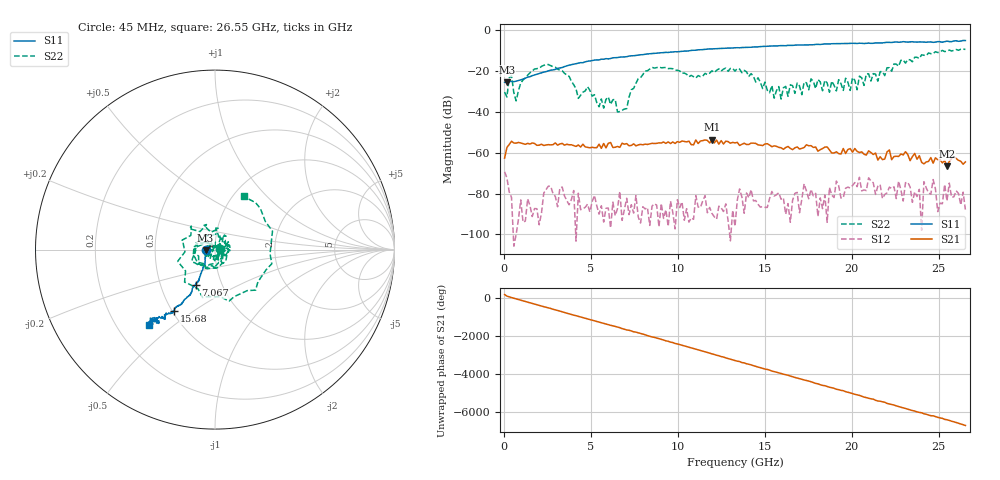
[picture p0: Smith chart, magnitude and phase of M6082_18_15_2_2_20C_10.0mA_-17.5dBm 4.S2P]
!  2-Port S-parameters saved by WinCal
! VAR MeasName=S-Parameters (CALIBRATED_DATA) read from VNA (C)
! VAR MeasDate=9/29/2015 3:44:09 PM
! VAR NAME=M6082_18_15_2_2_20C_10.0mA_-17.5dBm 4
! VAR FILENAME=M6082_18_15_2_2_20C_10.0mA_-17.5dBm 4.S2P
! VAR DATE=9/29/2015 3:44:09 PM
! VAR PHYS_PORTS=2,1
! VAR ObjTypeName=DATASET
! VAR IndexType=Frequency
# Hz S RI R 50
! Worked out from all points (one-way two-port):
!   201 points, 45 MHz to 26.55 GHz, reference 50 ohm
!   highest |S21| = -53.60 dB at 11.97 GHz (marker M1); lowest = -66.7 dB at 25.48 GHz (marker M2)
!   lowest |S11| = -25.6 dB at 177.5 MHz (marker M3), VSWR 1.11, Z = 45 - j0.388 ohm
!   |S11| at or under -10 dB: start of sweep to 10.73 GHz
!   |S22| runs from -40.1 to -9.2 dB; largest |S21 - S12| = 0.0021
!   S11 on the Smith chart (normalised r, x): 45 MHz: 0.90, -0.00; 7.067 GHz: 0.75, -0.31; 15.68 GHz: 0.51, -0.42; 26.55 GHz: 0.34, -0.41
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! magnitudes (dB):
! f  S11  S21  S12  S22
! 45 MHz  -25.5  -62.7  -69.4  -30.3
! 177.5 MHz  -25.6  -57.5  -72.4  -32.7
! 442.5 MHz  -25.1  -54.4  -81.9  -22.4
! 707.5 MHz  -25.0  -55.3  -100.1  -34.6
! 1.105 GHz  -23.9  -55.6  -94.0  -24.4
! 2.43 GHz  -20.3  -56.2  -78.1  -16.9
! 4.55 GHz  -15.9  -55.9  -87.5  -30.4
! 7.067 GHz  -13.0  -55.6  -82.3  -38.4
! 7.73 GHz  -12.2  -56.2  -91.5  -23.8
! 8.922 GHz  -11.2  -55.2  -96.3  -18.0
! 11.97 GHz  -9.2  -53.6  -89.7  -19.9
! 13.29 GHz  -8.6  -55.2  -96.1  -20.1
! 15.68 GHz  -7.7  -56.9  -80.6  -29.6
! 17.8 GHz  -7.1  -57.4  -81.1  -25.1
! 20.32 GHz  -6.5  -59.4  -76.7  -29.2
! 20.45 GHz  -6.4  -59.9  -72.1  -22.5
! 20.58 GHz  -6.4  -59.6  -78.7  -23.3
! 22.17 GHz  -6.0  -58.7  -76.9  -18.4
! 24.56 GHz  -5.8  -62.4  -80.3  -11.5
! 24.69 GHz  -6.0  -65.1  -73.2  -11.5
! 25.48 GHz  -5.4  -66.7  -83.6  -10.3
! 26.55 GHz  -5.1  -64.5  -87.9  -9.5
